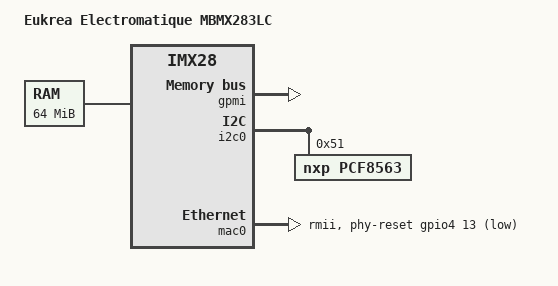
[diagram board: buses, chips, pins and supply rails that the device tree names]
/*
 * Copyright 2013 Eukréa Electromatique <eric@eukrea.com>
 * Copyright 2013 Eukréa Electromatique <denis@eukrea.com>
 *
 * This program is free software; you can redistribute it and/or
 * modify it under the terms of the GNU General Public License
 * as published by the Free Software Foundation; either version 2
 * of the License, or (at your option) any later version.
 * This program is distributed in the hope that it will be useful,
 * but WITHOUT ANY WARRANTY; without even the implied warranty of
 * MERCHANTABILITY or FITNESS FOR A PARTICULAR PURPOSE.  See the
 * GNU General Public License for more details.
 */

/*
 * Module contains : i.MX282 + 64MB DDR2 + NAND + Ethernet PHY + RTC
 */

/dts-v1/;
#include "imx28-eukrea-mbmx28lc.dtsi"

/ {
	model = "Eukrea Electromatique MBMX283LC";
	compatible = "eukrea,mbmx283lc", "eukrea,mbmx28lc", "fsl,imx28";

	memory {
		reg = <0x40000000 0x04000000>;
	};
};

&gpmi {
	pinctrl-names = "default";
	pinctrl-0 = <&gpmi_pins_a>;
	status = "okay";
};

&i2c0 {
	pinctrl-names = "default";
	pinctrl-0 = <&i2c0_pins_a>;
	status = "okay";

	pcf8563: rtc@51 {
		compatible = "nxp,pcf8563";
		reg = <0x51>;
	};
};


&mac0 {
	phy-mode = "rmii";
	pinctrl-names = "default";
	pinctrl-0 = <&mac0_pins_a>;
	phy-reset-gpios = <&gpio4 13 GPIO_ACTIVE_LOW>;
	status = "okay";
};

&pinctrl{
	pinctrl-names = "default";
	pinctrl-0 = <&hog_pins_cpuimx283>;

	hog_pins_cpuimx283: hog-cpuimx283@0 {
		reg = <0>;
		fsl,pinmux-ids = <
			MX28_PAD_ENET0_RX_CLK__GPIO_4_13
			MX28_PAD_ENET0_TX_CLK__GPIO_4_5
		>;
		fsl,drive-strength = <MXS_DRIVE_4mA>;
		fsl,voltage = <MXS_VOLTAGE_HIGH>;
		fsl,pull-up = <MXS_PULL_ENABLE>;
	};
};
